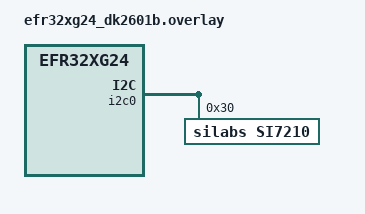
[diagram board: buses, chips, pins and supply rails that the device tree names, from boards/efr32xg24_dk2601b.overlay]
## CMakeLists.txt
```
# SPDX-License-Identifier: Apache-2.0

cmake_minimum_required(VERSION 3.20.0)

find_package(Zephyr REQUIRED HINTS $ENV{ZEPHYR_BASE})
project(zp_si7210_onboard_led)

target_sources(app PRIVATE src/main.c)
target_sources(app PRIVATE src/app.c)
```

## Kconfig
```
# Copyright (c) 2022, Silicon Labs
# SPDX-License-Identifier: Apache-2.0

mainmenu "Si7210: Magnetic Threshold Configuration"

config SI7210_MAGNETIC_THRESHOLD
	int "Si7210 Magnetic Threshold"
	default 10
	help
		This configuration can be used to configure the magnetic threshold.

source "Kconfig.zephyr"
```

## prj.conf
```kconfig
CONFIG_LOG=y
CONFIG_I2C=y
CONFIG_GPIO=y
CONFIG_SENSOR=y
#Support print floating point number
CONFIG_CBPRINTF_FP_SUPPORT=y
```

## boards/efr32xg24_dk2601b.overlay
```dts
&sensor_enable {
	enable-gpios = <&gpioc GECKO_PIN(9) GPIO_ACTIVE_HIGH>;
	startup-delay-us = <100000>;
};

&i2c0 {
	si7210: si7210@30 {
		compatible = "silabs,si7210";
		status = "okay";
		reg = <0x30>;
	};
};
```

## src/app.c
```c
/***************************************************************************//**
 * @file app.c
 * @brief zephyr si7210 hall effect magnetic sensor source file.
 *******************************************************************************
 * # License
 * <b>Copyright 2022 Silicon Laboratories Inc. www.silabs.com</b>
 *******************************************************************************
 *
 * SPDX-License-Identifier: Zlib
 *
 * The licensor of this software is Silicon Laboratories Inc.
 *
 * This software is provided \'as-is\', without any express or implied
 * warranty. In no event will the authors be held liable for any damages
 * arising from the use of this software.
 *
 * Permission is granted to anyone to use this software for any purpose,
 * including commercial applications, and to alter it and redistribute it
 * freely, subject to the following restrictions:
 *
 * 1. The origin of this software must not be misrepresented; you must not
 *    claim that you wrote the original software. If you use this software
 *    in a product, an acknowledgment in the product documentation would be
 *    appreciated but is not required.
 * 2. Altered source versions must be plainly marked as such, and must not be
 *    misrepresented as being the original software.
 * 3. This notice may not be removed or altered from any source distribution.
 *
 *******************************************************************************
 * # EXPERIMENTAL QUALITY
 * This code has not been formally tested and is provided as-is. It is not
 * suitable for production environments. In addition, this code will not be
 * maintained and there may be no bug maintenance planned for these resources.
 * Silicon Labs may update projects from time to time.
 ******************************************************************************/

#include <zephyr/kernel.h>
#include <zephyr/device.h>
#include <zephyr/logging/log.h>
#include <zephyr/devicetree.h>
#include <zephyr/drivers/sensor.h>
#include <zephyr/drivers/gpio.h>
#include <stdio.h>
#include "app.h"

LOG_MODULE_REGISTER(app, 3);
#define LED0_NODE DT_ALIAS(led0)

static const struct gpio_dt_spec led = GPIO_DT_SPEC_GET(LED0_NODE, gpios);
static const struct device *const dev = DEVICE_DT_GET_ANY(silabs_si7210);

/***************************************************************************//**
 * Application initialization function.
 ******************************************************************************/
void app_init(void)
{
  uint8_t ret;

  if (dev == NULL) {
    /* No such node, or the node does not have status "okay". */
    LOG_ERR("Si7210 Hall-effect sensor is not found.");
    return;
  }

  if (!gpio_is_ready_dt(&led)) {
    LOG_ERR("LED device \"%s\" is not ready; "
            "check the driver initialization logs for errors.",
            dev->name);
    return;
  }

  if (!device_is_ready(dev)) {
    LOG_ERR("Sensor device \"%s\" is not ready; "
            "check the driver initialization logs for errors.",
            dev->name);
    return;
  }

  ret = gpio_pin_configure_dt(&led, GPIO_OUTPUT_INACTIVE);
  if (ret < 0) {
    return;
  }

  LOG_INF("Found device \"%s\", getting sensor data ...", dev->name);
  LOG_INF("Magnectic induction threshold: %d mT",
          CONFIG_SI7210_MAGNETIC_THRESHOLD);
}

/***************************************************************************//**
 * App ticking function.
 ******************************************************************************/
void app_process_action(void)
{
  struct sensor_value magnetic;
  float f_magnetic;

  sensor_sample_fetch(dev);
  sensor_channel_get(dev, SENSOR_CHAN_MAGN_Z, &magnetic);

  f_magnetic = magnetic.val1 + (float)(magnetic.val2) / 1000000;

  LOG_INF("Magnetic value: %.2f mT", f_magnetic);

  if (abs(f_magnetic) > CONFIG_SI7210_MAGNETIC_THRESHOLD) {
    if (!gpio_pin_get(led.port, led.pin)) {
      gpio_pin_set(led.port, led.pin, true);
      LOG_INF("Turn ON LED.");
    } else {
    }
  } else {
    if (gpio_pin_get(led.port, led.pin)) {
      gpio_pin_set(led.port, led.pin, false);
      LOG_INF("Turn OFF LED.");
    } else {
    }
  }

  k_sleep(K_MSEC(1000));
}
```
